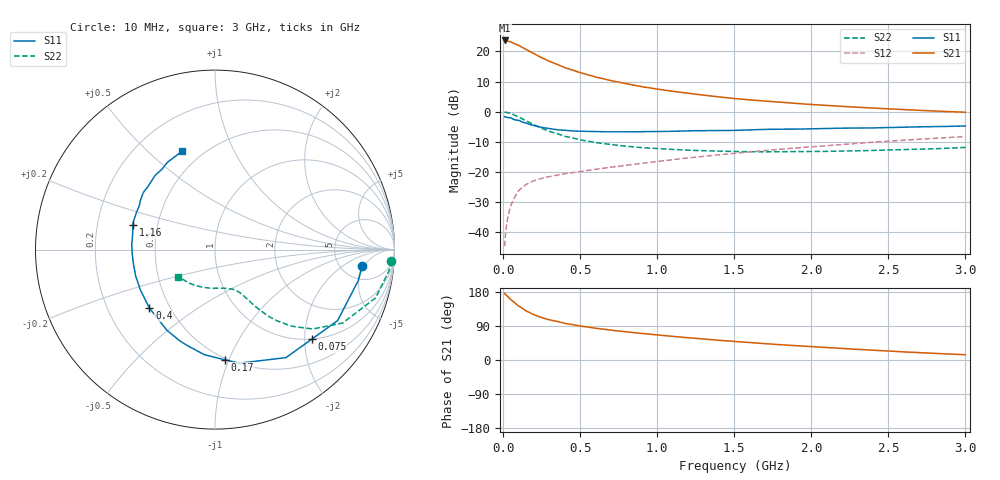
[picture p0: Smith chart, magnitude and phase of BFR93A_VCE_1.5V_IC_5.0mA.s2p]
! Infineon Technologies  Discrete & RF Semiconductors
! BFR93A
! VCE =  1.5 V,  IC =  5.0 mA
! Common Emitter S-Parameters:  Nov 2015
# GHz  S  MA  R  50
!  f  S11  S21  S12  S22
! GHz  MAG  ANG  MAG  ANG  MAG  ANG  MAG  ANG
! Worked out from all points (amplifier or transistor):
!   180 points, 10 MHz to 3 GHz, reference 50 ohm
!   highest |S21| = 23.7 dB at 10 MHz (marker M1)
!   |S21| within 3 dB of that: start of sweep to 150 MHz
!   unconditionally stable (mu >= 1): 715.2 MHz to end of sweep
!   at 160 MHz: K = 0.34, MSG = 22.2 dB, |S12| = -23.9 dB
!   at 1.22 GHz: K = 1.13, MAG = 8.4 dB, |S12| = -15.3 dB
!   at 3 GHz: K = 1.01, MAG = 3.4 dB, |S12| = -8.3 dB
!   S11 on the Smith chart (normalised r, x): 10 MHz: 7.92, -4.40; 75 MHz: 1.00, -2.16; 170 MHz: 0.49, -0.97; 400 MHz: 0.39, -0.33; 1.16 GHz: 0.36, +0.13; 3 GHz: 0.39, +0.64
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0.01  0.8245 -6.2  15.24 175.5  0.0058 86.6  0.9845 -3.6
0.02  0.8163 -12.3  15.12 171.2  0.0115 82.6  0.9768 -6.9
0.05  0.7894 -30.1  14.44 159.2  0.0274 74.6  0.9344 -16.7
0.075  0.7346 -42.8  13.43 151.4  0.0377 67.1  0.8716 -22.9
0.1  0.7201 -56.7  12.71 142.5  0.0483 62.9  0.8204 -29.9
0.15  0.6469 -78.1  10.79 129.2  0.0618 54.8  0.7016 -39.1
0.17  0.6168 -84.7  10.12 125.7  0.0655 52.8  0.6621 -41.2
0.2  0.589 -95.7  9.193 119.5  0.0711 50.1  0.6048 -44.9
0.24  0.5552 -106.7  8.131 113.5  0.0764 47.7  0.5434 -48.0
0.26  0.5433 -111.7  7.674 110.8  0.0789 46.9  0.5167 -49.4
0.3  0.5234 -120.7  6.873 106.0  0.0832 46.0  0.4708 -51.5
0.4  0.4899 -138.3  5.401 96.7  0.0927 45.4  0.3902 -54.6
0.52  0.4698 -153.7  4.308 88.6  0.1028 46.2  0.3333 -56.7
0.6  0.4657 -161.7  3.772 83.8  0.1098 47.0  0.3061 -57.9
0.7  0.4614 -169.7  3.274 78.6  0.1193 48.3  0.2831 -59.5
0.84  0.4622 -179.4  2.776 72.5  0.1324 49.6  0.2599 -62.1
1.02  0.4663 170.1  2.326 65.3  0.1505 50.8  0.2415 -66.1
1.16  0.4764 163.5  2.082 60.2  0.1655 51.4  0.2312 -70.2
1.52  0.4894 149.4  1.633 48.3  0.2047 51.4  0.217 -82.1
2.02  0.5187 133.8  1.305 34.7  0.2633 49.3  0.2172 -101.5
2.52  0.5463 120.5  1.106 23.2  0.3255 44.9  0.2304 -121.9
3  0.5775 108.7  0.977 13.9  0.3848 39.3  0.2543 -143.4
